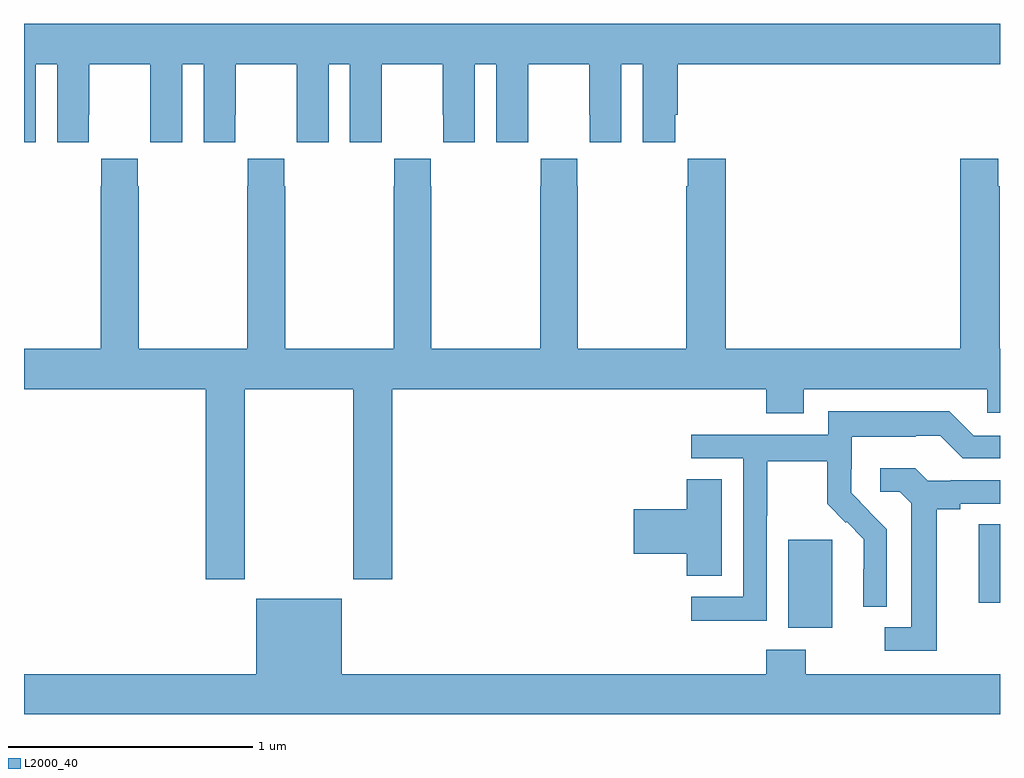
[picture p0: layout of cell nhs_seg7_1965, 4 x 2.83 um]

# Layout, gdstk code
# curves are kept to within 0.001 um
import gdstk
lib = gdstk.Library(unit=1e-6, precision=1e-09)
def R(c, l, rs):  # rectangles x0, y0, x1, y1
    for r in rs: c.add(gdstk.rectangle(r[:2], r[2:], *l))
def P(c, l, *ps):  # polygons
    for p in ps: c.add(gdstk.Polygon(p, *l))
L2000_40 = (2000, 40)

nhs_seg7_1965 = lib.new_cell('nhs_seg7_1965')
R(nhs_seg7_1965, L2000_40, [(244.133,1072.898,244.312,1073.259), (244.913,1073.001,245,1073.321)])
P(nhs_seg7_1965, L2000_40, [(241,1074.888),(241.048,1074.888),(241.048,1075.208),(241.136,1075.208),(241.136,1074.888),(241.266,1074.888),(241.266,1075),(241.267,1075),(241.267,1075.208),(241.517,1075.208),(241.517,1075),(241.518,1075),(241.518,1074.888),(241.648,1074.888),(241.648,1075.208),(241.736,1075.208),(241.736,1074.888),(241.866,1074.888),(241.866,1075),(241.867,1075),(241.867,1075.208),(242.117,1075.208),(242.117,1075),(242.118,1075),(242.118,1074.888),(242.248,1074.888),(242.248,1075.208),(242.336,1075.208),(242.336,1074.888),(242.466,1074.888),(242.466,1075),(242.467,1075),(242.467,1075.208),(242.717,1075.208),(242.717,1075),(242.718,1075),(242.718,1074.888),(242.848,1074.888),(242.848,1075.208),(242.936,1075.208),(242.936,1074.888),(243.066,1074.888),(243.066,1075),(243.067,1075),(243.067,1075.208),(243.317,1075.208),(243.317,1075),(243.318,1075),(243.318,1074.888),(243.448,1074.888),(243.448,1075.208),(243.536,1075.208),(243.536,1074.888),(243.67,1074.888),(243.67,1075),(243.68,1075),(243.68,1075.208),(245,1075.208),(245,1075.372),(241,1075.372)],
  [(241.905,1073.876),(242.35,1073.876),(242.35,1073.097),(242.51,1073.097),(242.51,1073.876),(244.043,1073.876),(244.043,1073.777),(244.195,1073.777),(244.195,1073.876),(244.947,1073.876),(244.947,1073.778),(245,1073.778),(245,1074.04),(244.998,1074.04),(244.998,1074.707),(244.993,1074.707),(244.993,1074.82),(244.838,1074.82),(244.838,1074.04),(243.875,1074.04),(243.875,1074.82),(243.721,1074.82),(243.721,1074.707),(243.715,1074.707),(243.715,1074.04),(243.27,1074.04),(243.27,1074.707),(243.267,1074.707),(243.267,1074.82),(243.117,1074.82),(243.117,1074.707),(243.115,1074.707),(243.115,1074.04),(242.67,1074.04),(242.67,1074.707),(242.667,1074.707),(242.667,1074.82),(242.517,1074.82),(242.517,1074.707),(242.515,1074.707),(242.515,1074.04),(242.07,1074.04),(242.07,1074.707),(242.067,1074.707),(242.067,1074.82),(241.917,1074.82),(241.917,1074.707),(241.915,1074.707),(241.915,1074.04),(241.47,1074.04),(241.47,1074.707),(241.467,1074.707),(241.467,1074.82),(241.317,1074.82),(241.317,1074.707),(241.315,1074.707),(241.315,1074.04),(241,1074.04),(241,1073.876),(241.745,1073.876),(241.745,1073.097),(241.905,1073.097)],
  [(244.044,1073.356),(244.047,1073.356),(244.047,1073.58),(244.291,1073.58),(244.291,1073.405),(244.368,1073.328),(244.371,1073.331),(244.442,1073.261),(244.442,1073.138),(244.44,1073.138),(244.44,1072.984),(244.536,1072.984),(244.536,1073.302),(244.39,1073.45),(244.39,1073.547),(244.392,1073.547),(244.392,1073.681),(244.655,1073.681),(244.655,1073.685),(244.755,1073.685),(244.848,1073.592),(245,1073.592),(245,1073.685),(244.893,1073.685),(244.793,1073.785),(244.296,1073.785),(244.296,1073.688),(243.735,1073.688),(243.735,1073.592),(243.948,1073.592),(243.948,1073.025),(243.735,1073.025),(243.735,1072.927),(244.044,1072.927)],
  [(244.741,1073.384),(244.837,1073.384),(244.837,1073.406),(245,1073.406),(245,1073.502),(244.798,1073.502),(244.798,1073.499),(244.704,1073.499),(244.652,1073.551),(244.509,1073.551),(244.509,1073.454),(244.59,1073.454),(244.637,1073.407),(244.637,1072.899),(244.527,1072.899),(244.527,1072.803),(244.741,1072.803)],
  [(243.859,1073.507),(243.716,1073.507),(243.716,1073.384),(243.498,1073.384),(243.498,1073.201),(243.716,1073.201),(243.716,1073.11),(243.859,1073.11)],
  [(245,1072.708),(244.203,1072.708),(244.203,1072.807),(244.043,1072.807),(244.043,1072.708),(242.302,1072.708),(242.302,1073.017),(241.952,1073.017),(241.952,1072.708),(241,1072.708),(241,1072.544),(245,1072.544)])

lib.write_gds('nhs_seg7_1965.gds')
